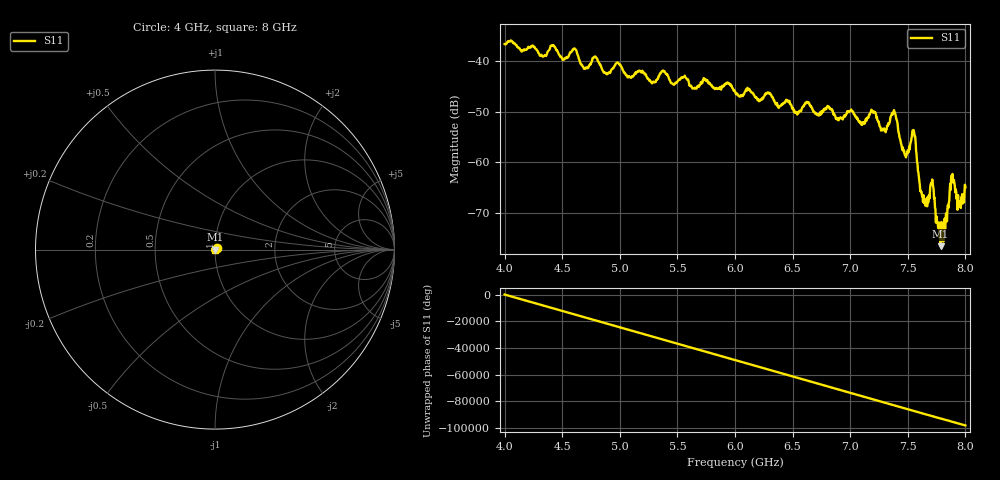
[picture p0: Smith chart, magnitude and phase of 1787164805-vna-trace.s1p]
! Created with skrf 1.10.0 (http://scikit-rf.org).
# Hz S RI R 50.0
!freq ReS11 ImS11
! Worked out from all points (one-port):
!   1001 points, 4 GHz to 8 GHz, reference 50 ohm
!   lowest |S11| = -76.7 dB at 7.784 GHz (marker M1), VSWR 1.00, Z = 50 + j0.0143 ohm
!   |S11| at or under -10 dB: start of sweep to end of sweep
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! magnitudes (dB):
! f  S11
! 4 GHz  -36.6
! 4.328 GHz  -39.1
! 4.42 GHz  -36.9
! 4.5 GHz  -39.5
! 4.604 GHz  -37.6
! 4.7 GHz  -41.5
! 4.784 GHz  -39.1
! 4.88 GHz  -42.5
! 5 GHz  -40.8
! 5.5 GHz  -44.1
! 6 GHz  -46.0
! 6.5 GHz  -49.3
! 7 GHz  -49.9
! 7.108 GHz  -52.1
! 7.204 GHz  -50.0
! 7.288 GHz  -53.4
! 7.38 GHz  -49.7
! 7.464 GHz  -57.9
! 7.5 GHz  -57.7
! 7.552 GHz  -53.7
! 7.624 GHz  -66.8
! 7.66 GHz  -67.3
! 7.712 GHz  -63.4
! 7.784 GHz  -76.7
! 7.824 GHz  -73.3
! 7.884 GHz  -62.9
! 7.944 GHz  -67.7
! 8 GHz  -65.0
